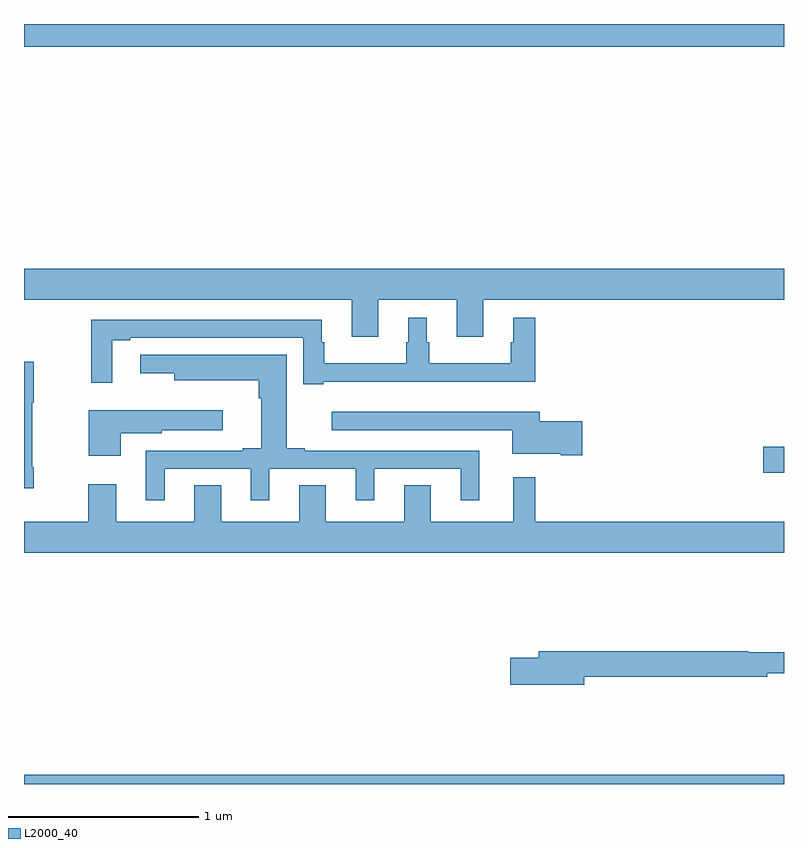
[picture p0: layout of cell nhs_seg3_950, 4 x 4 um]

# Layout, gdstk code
import gdstk
lib = gdstk.Library(unit=1e-6, precision=1e-09)
def R(c, l, rs):  # rectangles x0, y0, x1, y1
    for r in rs: c.add(gdstk.rectangle(r[:2], r[2:], *l))
def P(c, l, *ps):  # polygons
    for p in ps: c.add(gdstk.Polygon(p, *l))
L2000_40 = (2000, 40)

nhs_seg3_950 = lib.new_cell('nhs_seg3_950')
R(nhs_seg3_950, L2000_40, [(161,666.4,165,666.448), (164.892,668.039,165,668.174), (161,670.28,165,670.4)])
P(nhs_seg3_950, L2000_40, [(162.865,668.948),(163.277,668.948),(163.277,668.754),(163.417,668.754),(163.417,668.948),(165,668.948),(165,669.112),(161,669.112),(161,668.948),(162.725,668.948),(162.725,668.754),(162.865,668.754)],
  [(162.574,668.516),(163.691,668.516),(163.691,668.854),(163.574,668.854),(163.574,668.726),(163.563,668.726),(163.563,668.614),(163.132,668.614),(163.132,668.726),(163.12,668.726),(163.12,668.854),(163.022,668.854),(163.022,668.726),(163.011,668.726),(163.011,668.614),(162.58,668.614),(162.58,668.726),(162.568,668.726),(162.568,668.844),(161.355,668.844),(161.355,668.511),(161.464,668.511),(161.464,668.736),(161.56,668.736),(161.56,668.748),(162.471,668.748),(162.471,668.505),(162.574,668.505)],
  [(161.74,668.058),(162.194,668.058),(162.194,667.893),(162.292,667.893),(162.292,668.058),(162.746,668.058),(162.746,667.893),(162.844,667.893),(162.844,668.058),(163.298,668.058),(163.298,667.893),(163.397,667.893),(163.397,668.154),(162.478,668.154),(162.478,668.167),(162.382,668.167),(162.382,668.659),(161.896,668.659),(161.896,668.658),(161.613,668.658),(161.613,668.561),(161.792,668.561),(161.792,668.525),(162.236,668.525),(162.236,668.429),(162.248,668.429),(162.248,668.167),(162.152,668.167),(162.152,668.154),(161.642,668.154),(161.642,667.893),(161.74,667.893)],
  [(161.052,668.068),(161.044,668.068),(161.044,668.407),(161.052,668.407),(161.052,668.623),(161,668.623),(161,667.956),(161.052,667.956)],
  [(161.509,668.246),(161.724,668.246),(161.724,668.261),(162.046,668.261),(162.046,668.368),(161.342,668.368),(161.342,668.127),(161.509,668.127)],
  [(163.939,668.309),(163.714,668.309),(163.714,668.359),(162.621,668.359),(162.621,668.262),(163.571,668.262),(163.571,668.138),(163.826,668.138),(163.826,668.131),(163.939,668.131)],
  [(165,667.78),(163.691,667.78),(163.691,668.014),(163.574,668.014),(163.574,667.78),(163.141,667.78),(163.141,667.973),(163.001,667.973),(163.001,667.78),(162.589,667.78),(162.589,667.973),(162.449,667.973),(162.449,667.78),(162.037,667.78),(162.037,667.973),(161.897,667.973),(161.897,667.78),(161.485,667.78),(161.485,667.978),(161.338,667.978),(161.338,667.78),(161,667.78),(161,667.616),(165,667.616)],
  [(163.948,666.964),(164.912,666.964),(164.912,666.983),(165,666.983),(165,667.093),(164.813,667.093),(164.813,667.1),(163.709,667.1),(163.709,667.064),(163.56,667.064),(163.56,666.922),(163.948,666.922)])

lib.write_gds('nhs_seg3_950.gds')
